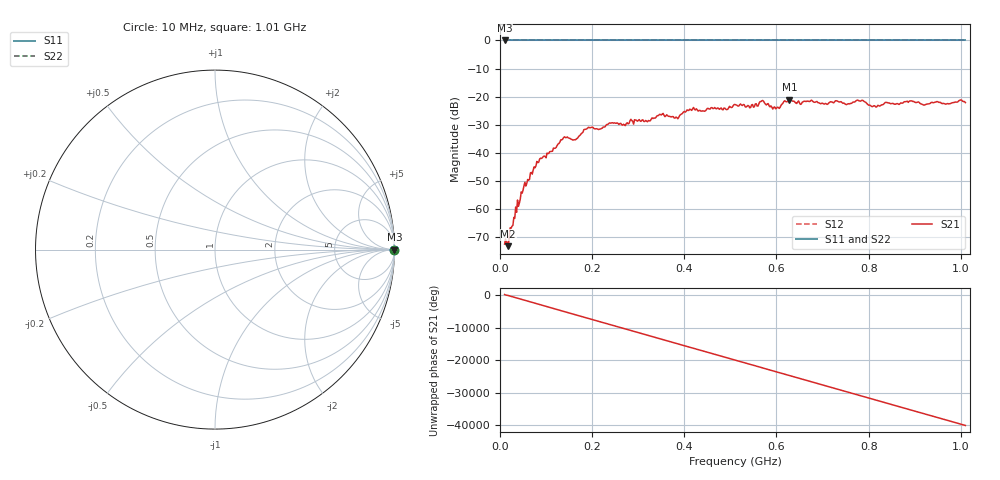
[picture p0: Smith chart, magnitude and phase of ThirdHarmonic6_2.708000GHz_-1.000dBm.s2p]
! 8/17/2025 6:31:43 AM
! C:\ANRITSUVNA\TEMP\TEMP.S2P
! CHANNEL.1
! TR.MEASUREMENT
! RAW.DATA
! RF.CORRECTION.OFF
! AVERAGING.OFF
! IF.BANDWIDTH: 5KHZ
! SWEEPTYPE:  FREQ.SWEEP(Linear)
! Reference Plane Port Info
! PORT:  PORT1  PORT2
! DISTANCE:  0  m  0  m
! TIME:  0  s  0  s
! PHASE.OFFSET:  0  deg.  0  deg.
! LOSS:  0  dB  0  dB
! REF.LOSS:  0  dB  0  dB
! REF.FREQ:  0  Hz  0  Hz
! Power Info
! POWER:  -20  dBm  -20  dBm
! EFF.POWER:  -20  dBm  -20  dBm
! SOURCE.ATTEN:  0  dB  0  dB
! TEST.ATTEN:  0  dB  0  dB
# GHZ S RI R 50.0
! FREQ.GHZ  S11RE  S11IM  S21RE  S21IM  S12RE  S12IM  S22RE  S22IM
!; PortSelection: Port_12
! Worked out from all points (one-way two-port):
!   501 points, 10 MHz to 1.01 GHz, reference 50 ohm
!   highest |S21| = -21.03 dB at 628 MHz (marker M1); lowest = -73.1 dB at 18 MHz (marker M2)
!   lowest |S11| = 0.0 dB at 10 MHz (marker M3)
!   |S11| at or under -10 dB: nowhere
!   |S22| runs from 0.0 to 0.0 dB; largest |S21 - S12| = 1.1
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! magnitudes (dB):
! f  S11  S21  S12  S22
! 10 MHz  0.0  -72.3  0.0  0.0
! 18 MHz  0.0  -73.1  0.0  0.0
! 50 MHz  0.0  -53.2  0.0  0.0
! 84 MHz  0.0  -43.3  0.0  0.0
! 136 MHz  0.0  -35.1  0.0  0.0
! 162 MHz  0.0  -35.3  0.0  0.0
! 178 MHz  0.0  -32.9  0.0  0.0
! 240 MHz  0.0  -29.4  0.0  0.0
! 322 MHz  0.0  -28.5  0.0  0.0
! 344 MHz  0.0  -26.6  0.0  0.0
! 384 MHz  0.0  -27.5  0.0  0.0
! 416 MHz  0.0  -24.9  0.0  0.0
! 510 MHz  0.0  -22.8  0.0  0.0
! 546 MHz  0.0  -22.9  0.0  0.0
! 568 MHz  0.0  -21.5  0.0  0.0
! 602 MHz  0.0  -23.7  0.0  0.0
! 628 MHz  0.0  -21.0  0.0  0.0
! 678 MHz  0.0  -21.5  0.0  0.0
! 784 MHz  0.0  -21.4  0.0  0.0
! 812 MHz  0.0  -23.2  0.0  0.0
! 844 MHz  0.0  -22.2  0.0  0.0
! 1.01 GHz  0.0  -22.1  0.0  0.0
